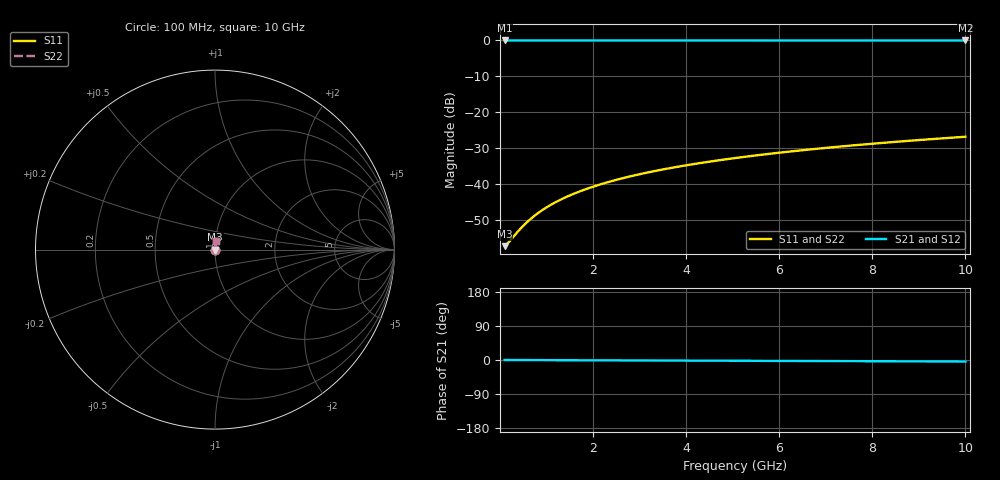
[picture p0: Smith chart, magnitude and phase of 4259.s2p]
# Hz S RI R 50.00
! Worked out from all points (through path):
!   100 points, 100 MHz to 10 GHz, reference 50 ohm
!   highest |S21| = -0.01 dB at 100 MHz (marker M1); lowest = 0.0 dB at 10 GHz (marker M2)
!   lowest |S11| = -57.3 dB at 100 MHz (marker M3), VSWR 1.00, Z = 50.1 + j0.0456 ohm
!   |S11| at or under -10 dB: start of sweep to end of sweep
!   |S22| runs from -57.3 to -26.8 dB; largest |S21 - S12| = 0
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1e8  0.00129 0.000454  0.9987 -0.000698  0.9987 -0.000698  0.00129 0.000454
2e8  0.0013 0.000909  0.9987 -0.0014  0.9987 -0.0014  0.0013 0.000909
4e8  0.00132 0.00182  0.9987 -0.00279  0.9987 -0.00279  0.00132 0.00182
5e8  0.00132 0.00227  0.9987 -0.00349  0.9987 -0.00349  0.00132 0.00227
6e8  0.00133 0.00273  0.9987 -0.00419  0.9987 -0.00419  0.00133 0.00273
7e8  0.00134 0.00318  0.9987 -0.00489  0.9987 -0.00489  0.00134 0.00318
8e8  0.00135 0.00363  0.9986 -0.00559  0.9986 -0.00559  0.00135 0.00363
1e9  0.00136 0.00454  0.9986 -0.00698  0.9986 -0.00698  0.00136 0.00454
1.2e9  0.00138 0.00545  0.9986 -0.00838  0.9986 -0.00838  0.00138 0.00545
1.5e9  0.00141 0.00681  0.9986 -0.0105  0.9986 -0.0105  0.00141 0.00681
1.8e9  0.00145 0.00818  0.9985 -0.0126  0.9985 -0.0126  0.00145 0.00818
2.1e9  0.00149 0.00954  0.9985 -0.0147  0.9985 -0.0147  0.00149 0.00954
2.5e9  0.00156 0.0114  0.9984 -0.0175  0.9984 -0.0175  0.00156 0.0114
2.9e9  0.00163 0.0132  0.9983 -0.0203  0.9983 -0.0203  0.00163 0.0132
3.4e9  0.00174 0.0154  0.9982 -0.0237  0.9982 -0.0237  0.00174 0.0154
4.2e9  0.00194 0.0191  0.998 -0.0293  0.998 -0.0293  0.00194 0.0191
5.1e9  0.00222 0.0232  0.9977 -0.0356  0.9977 -0.0356  0.00222 0.0232
5.9e9  0.00251 0.0268  0.9974 -0.0412  0.9974 -0.0412  0.00251 0.0268
6.7e9  0.00284 0.0304  0.997 -0.0468  0.997 -0.0468  0.00284 0.0304
7.5e9  0.00321 0.0341  0.9966 -0.0524  0.9966 -0.0524  0.00321 0.0341
8.4e9  0.00368 0.0381  0.9961 -0.0587  0.9961 -0.0587  0.00368 0.0381
1e10  0.00463 0.0454  0.995 -0.0699  0.995 -0.0699  0.00463 0.0454
